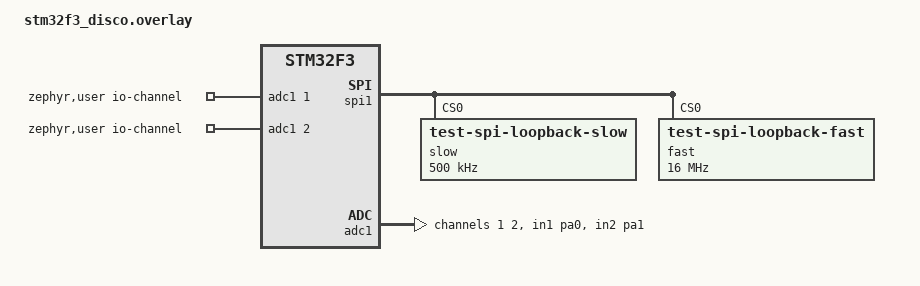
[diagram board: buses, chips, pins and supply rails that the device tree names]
/*
 * Copyright (c) 2022 Kumar Gala <galak@kernel.org>
 *
 * SPDX-License-Identifier: Apache-2.0
 */

tst_dma0: &dma1 {};

&spi1 {
	slow@0 {
		compatible = "test-spi-loopback-slow";
		reg = <0>;
		spi-max-frequency = <500000>;
	};
	fast@0 {
		compatible = "test-spi-loopback-fast";
		reg = <0>;
		spi-max-frequency = <16000000>;
	};
};

/ {
	zephyr,user {
		io-channels = <&adc1 1>, <&adc1 2>;
	};
};

&adc1 {
	dmas = <&dma1 1 (STM32_DMA_PERIPH_RX | STM32_DMA_MEM_16BITS | STM32_DMA_PERIPH_16BITS)>;
	dma-names = "dma";
	pinctrl-0 = <&adc1_in1_pa0 &adc1_in2_pa1>;
	#address-cells = <1>;
	#size-cells = <0>;
	channel@1 {
		reg = <1>;
		zephyr,gain = "ADC_GAIN_1";
		zephyr,reference = "ADC_REF_INTERNAL";
		zephyr,acquisition-time = <ADC_ACQ_TIME_MAX>;
		zephyr,resolution = <12>;
	};
	channel@2 {
		reg = <2>;
		zephyr,gain = "ADC_GAIN_1";
		zephyr,reference = "ADC_REF_INTERNAL";
		zephyr,acquisition-time = <ADC_ACQ_TIME_MAX>;
		zephyr,resolution = <12>;
	};
};

&dma1 {
	status = "okay";
};
